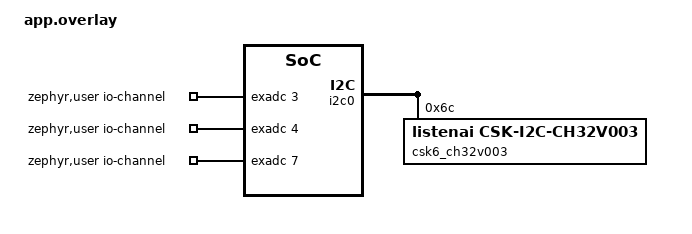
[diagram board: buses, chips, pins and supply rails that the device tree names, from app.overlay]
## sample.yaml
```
tests:
  sample.board.csk6.drivers.exmcu.adc:
    platform_allow: csk6_duomotai_devkit
    tags: csk6
    harness: console
    harness_config:
      fixture: ch32v003
      type: multi_line
      regex:
        - "ADC CHECK SUCCESS, 1"
        - "ADC CHECK SUCCESS, 2"
        - "ADC CHECK SUCCESS, 3"
        - "ADC CHECK SUCCESS, 4"
        - "ADC CHECK SUCCESS, 5"
        - "ADC CHECK SUCCESS, 6"
        - "ADC CHECK SUCCESS, 7"
        - "ADC CHECK SUCCESS, 8"
```

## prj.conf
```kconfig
CONFIG_ADC=y
CONFIG_LOG=y
# CONFIG_LOG_MODE_MINIMAL=y
CONFIG_ADC_CSK6_CH32V003=y
CONFIG_I2C_CSK6=y
CONFIG_I2C=y


CONFIG_ZTEST=y
CONFIG_TEST_USERSPACE=y
```

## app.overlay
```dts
&i2c0 {
    status = "okay";
    pinctrl-0 = <&pinctrl_i2c0_scl_default &pinctrl_i2c0_sda_default>;
    pinctrl-names = "default";
    csk6_ch32v003: csk6_ch32v003@6c {
        /**
         * Please make sure that the external MCU firmware has been loaded
         * SCL --> external MCU PC5
         * SDA --> external MCU PC6
         */
        compatible = "listenai,csk-i2c-ch32v003";
        reg = <0x6c>;
        status = "okay";
        #address-cells = <1>;
        #size-cells = <0>;

        exadc: adc@0 {
            /**
             * external adc channel map
             *
             * CH0 --> PA2
             * CH1 --> PA1
             * CH2 --> PC4
             * CH3 --> PD2
             * CH4 --> PD3
             * CH5 --> PD5
             * CH6 --> PD6
             * CH7 --> PD4
             *
             */

            compatible = "listenai,csk-adc-ch32v003";
            reg = <0>;
            status = "okay";
            #io-channel-cells = <1>;
        };

        /* CH32V003-GPIOA */
        exgpioa: gpio@0 {
            compatible = "listenai,csk-gpio-ch32003-port";
            reg = <0x00>;
            status = "okay";
            ngpios = <8>;
            #gpio-cells = <2>;
            gpio-controller;
            pin_mask = <0x00>;
        };

        /* CH32V003-GPIOB */
        exgpiob: gpio@1 {
            compatible = "listenai,csk-gpio-ch32003-port";
            reg = <0x01>;
            status = "okay";
            ngpios = <8>;
            #gpio-cells = <2>;
            gpio-controller;
            pin_mask = <0x00>;
        };

        /* CH32V003-GPIOC */
        exgpioc: gpio@2 {
            compatible = "listenai,csk-gpio-ch32003-port";
            reg = <0x02>;
            status = "okay";
            ngpios = <8>;
            #gpio-cells = <2>;
            gpio-controller;
            pin_mask = <0x00>;
        };

        /* CH32V003-GPIOD */
        exgpiod: gpio@3 {
            compatible = "listenai,csk-gpio-ch32003-port";
            reg = <0x03>;
            status = "okay";
            ngpios = <8>;
            #gpio-cells = <2>;
            gpio-controller;
            pin_mask = <0x00>;
        };
    };
};


/ {
    /**
    *  PC2<---->PD2
    *  PC3<---->PD3
    *  PC4<---->PD4
    * 
    * external adc channel map
    *
    * CH0 --> PA2
    * CH1 --> PA1
    * CH2 --> PC4
    * CH3 --> PD2
    * CH4 --> PD3
    * CH5 --> PD5
    * CH6 --> PD6
    * CH7 --> PD4
    *
    */

    zephyr,user {
        io-channels = <&exadc 3>, <&exadc 4>, <&exadc 7>;
    };

    aliases {
        csk6-exmcu = &csk6_ch32v003;
    };
};
```

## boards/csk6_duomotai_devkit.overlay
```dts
/ {
    zephyr,user {
        io-channels = <&exadc 3>, <&exadc 4>, <&exadc 7>;
    };
};
```

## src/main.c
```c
/*
 * Copyright (c) 2023 Anhui(Shenzhen) Listenai Co., Ltd.
 *
 * SPDX-License-Identifier: Apache-2.0
 */

#include <zephyr/drivers/adc.h>
#include <zephyr/sys/printk.h>
#include <zephyr/kernel.h>
#include <zephyr/drivers/gpio.h>
#include <zephyr/ztest.h>

#if !DT_NODE_EXISTS(DT_PATH(zephyr_user)) || !DT_NODE_HAS_PROP(DT_PATH(zephyr_user), io_channels)
#error "No suitable devicetree overlay specified"
#endif

#define ADC_NUM_CHANNELS DT_PROP_LEN(DT_PATH(zephyr_user), io_channels)
#define ADC_NODE DT_PHANDLE(DT_PATH(zephyr_user), io_channels)

/* Common settings supported by most ADCs */
#define ADC_RESOLUTION 10
#define ADC_GAIN       ADC_GAIN_1
#define ADC_REFERENCE  ADC_REF_INTERNAL

static uint8_t channel_ids = DT_IO_CHANNELS_INPUT_BY_IDX(DT_PATH(zephyr_user), 0);

static int16_t sample_buffer = 0;

struct adc_channel_cfg channel_cfg = {
	.gain = ADC_GAIN_1,
	.reference = ADC_REFERENCE,
	.channel_id = 0,
};

struct adc_sequence sequence = {
	/* individual channels will be added below */
	.channels = 0,
	.buffer = (void *)&sample_buffer,
	/* buffer size in bytes, not number of samples */
	.buffer_size = sizeof(sample_buffer),
	.resolution = ADC_RESOLUTION,
};

static const struct device *dev_adc = DEVICE_DT_GET(ADC_NODE);
static const struct device *dev_gpio = DEVICE_DT_GET(DT_NODELABEL(gpioa));

#define TEST_GPIO_PIN 7

static void *exmcu_adc_test_setup(void)
{

	zassert_true(device_is_ready(dev_adc), "ADC device not found");
	zassert_true(device_is_ready(dev_gpio), "dev_gpio device not found");

	gpio_pin_configure(dev_gpio, TEST_GPIO_PIN, GPIO_OUTPUT);

	channel_cfg.channel_id = channel_ids;
	adc_channel_setup(dev_adc, &channel_cfg);
	sequence.channels |= BIT(channel_ids);

	return NULL;
}

ZTEST(exmcu_adc, test_adc_read_high_vol)
{
	int err;
	int32_t mv_value;
	int32_t adc_vref;

	gpio_pin_set_raw(dev_gpio, TEST_GPIO_PIN, 1);
	k_msleep(1000);

	adc_vref = adc_ref_internal(dev_adc);
	err = adc_read(dev_adc, &sequence);
	zassert_ok(err, "adc read failed");

	mv_value = sample_buffer;
	adc_raw_to_millivolts(adc_vref, ADC_GAIN_1, ADC_RESOLUTION, &mv_value);
	zassert_between_inclusive(mv_value, adc_vref - 200, adc_vref + 200,
				  "adc read high vol failed, ref:%d, raw: %d, mv:%d", adc_vref,
				  sample_buffer, mv_value);
}

ZTEST(exmcu_adc, test_adc_read_low_vol)
{
	int err;
	int32_t mv_value;
	int32_t adc_vref;

	gpio_pin_set_raw(dev_gpio, TEST_GPIO_PIN, 0);
	k_msleep(1000);

	adc_vref = adc_ref_internal(dev_adc);
	err = adc_read(dev_adc, &sequence);
	zassert_ok(err, "adc read failed");

	mv_value = sample_buffer;
	adc_raw_to_millivolts(adc_vref, ADC_GAIN_1, ADC_RESOLUTION, &mv_value);
	zassert_between_inclusive(mv_value, 0, 200, "adc read low vol failed, ref:%d, raw: %d, mv:%d",
				  adc_vref, sample_buffer, mv_value);
}

ZTEST_SUITE(exmcu_adc, NULL, exmcu_adc_test_setup, NULL, NULL, NULL);
```
